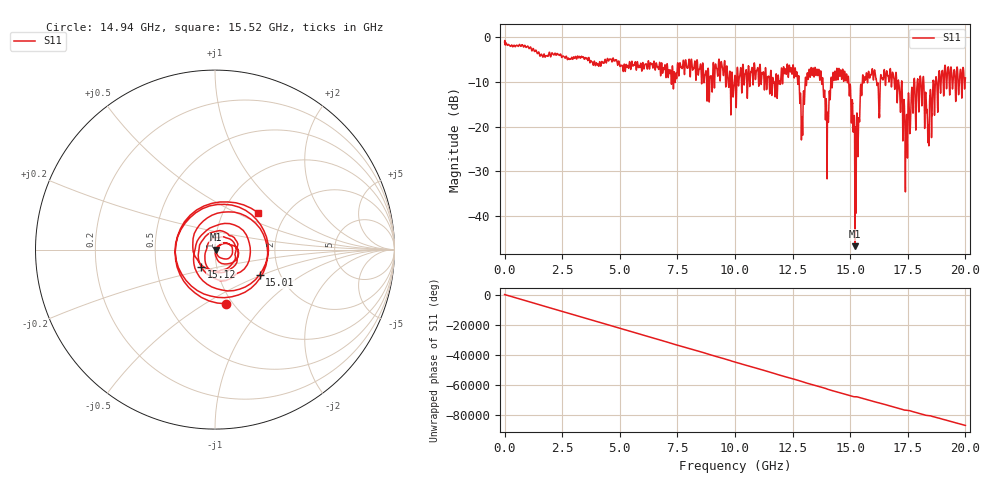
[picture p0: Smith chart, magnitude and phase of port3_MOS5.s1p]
! MS46122B
! 2250307/22442219
! 6/18/2025 7:51:59 AM
! C:\USERS\SPARKY\DOCUMENTS\VNA_DATA\JUNE18_2025\3.0K\PORT3_MOS5.S1P
! CHANNEL.1
! TR.MEASUREMENT
! RAW.DATA
# GHZ S RI R 50.0
! FREQ.GHZ  S11RE  S11IM
!; PortSelection: Port_1
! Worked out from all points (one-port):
!   10001 points, 1 MHz to 20 GHz, reference 50 ohm
!   lowest |S11| = -46.7 dB at 15.2 GHz (marker M1), VSWR 1.01, Z = 50.5 - j0.0828 ohm
!   |S11| at or under -10 dB: 14.94 GHz to 15.52 GHz (586.1 MHz wide, 3.85 % of centre); 17.24 GHz to 17.76 GHz (518.9 MHz wide, 2.96 % of centre); 18.19 GHz to 18.59 GHz (399.5 MHz wide, 2.17 % of centre) (the widest 3 of 64)
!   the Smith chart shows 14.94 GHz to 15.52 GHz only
!   S11 on the Smith chart (normalised r, x): 14.94 GHz: 0.93, -0.62; 15.01 GHz: 1.57, -0.48; 15.12 GHz: 0.84, -0.16; 15.52 GHz: 1.45, +0.66
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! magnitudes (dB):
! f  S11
! 1 MHz  -1.1
! 2.501 GHz  -4.4
! 5.001 GHz  -6.5
! 7.501 GHz  -6.3
! 8.863 GHz  -10.1
! 9.477 GHz  -7.5
! 10 GHz  -8.6
! 12.5 GHz  -6.9
! 12.69 GHz  -8.0
! 12.91 GHz  -18.0
! 13.3 GHz  -6.8
! 13.72 GHz  -7.6
! 13.99 GHz  -23.5
! 14.34 GHz  -7.6
! 14.94 GHz  -10.2
! 15 GHz  -10.5
! 15.01 GHz  -10.9
! 15.12 GHz  -18.2
! 15.2 GHz  -46.7
! 15.3 GHz  -17.2
! 15.52 GHz  -10.0
! 16.91 GHz  -10.1
! 17.39 GHz  -25.8
! 17.5 GHz  -19.7
! 17.98 GHz  -16.7
! 18.45 GHz  -13.9
! 18.93 GHz  -12.1
! 20 GHz  -9.1
